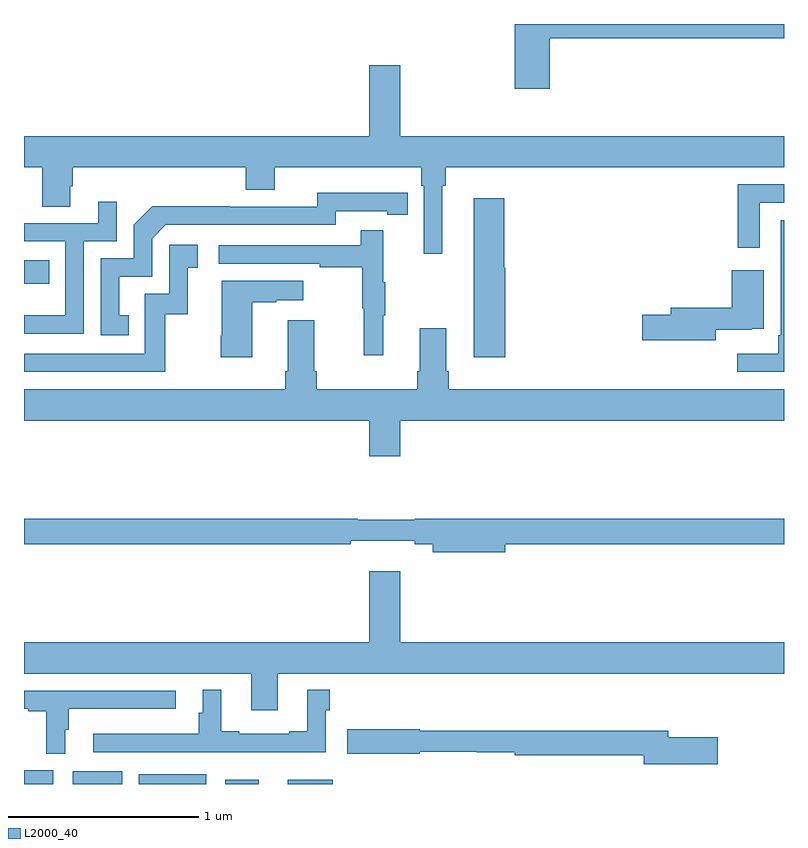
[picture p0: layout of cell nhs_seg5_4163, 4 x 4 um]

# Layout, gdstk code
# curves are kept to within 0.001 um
import gdstk
lib = gdstk.Library(unit=1e-6, precision=1e-09)
def R(c, l, rs):  # rectangles x0, y0, x1, y1
    for r in rs: c.add(gdstk.rectangle(r[:2], r[2:], *l))
def P(c, l, *ps):  # polygons
    for p in ps: c.add(gdstk.Polygon(p, *l))
L2000_40 = (2000, 40)

nhs_seg5_4163 = lib.new_cell('nhs_seg5_4163')
R(nhs_seg5_4163, L2000_40, [(355,902.799,355.153,902.872), (355.256,902.799,355.516,902.866), (355.604,902.799,355.96,902.851), (356.06,902.799,356.236,902.821), (356.387,902.799,356.626,902.821), (355,905.433,355.133,905.556)])
P(nhs_seg5_4163, L2000_40, [(357.767,906.724),(359,906.724),(359,906.799),(357.584,906.799),(357.584,906.459),(357.767,906.459)],
  [(357.202,905.948),(357.221,905.948),(357.221,906.044),(359,906.044),(359,906.208),(356.98,906.208),(356.98,906.583),(356.816,906.583),(356.816,906.208),(355,906.208),(355,906.044),(355.096,906.044),(355.096,905.836),(355.243,905.836),(355.243,905.946),(355.256,905.946),(355.256,906.044),(356.168,906.044),(356.168,905.927),(356.32,905.927),(356.32,906.044),(357.092,906.044),(357.092,905.948),(357.105,905.948),(357.105,905.589),(357.202,905.589)],
  [(358.872,905.859),(359,905.859),(359,905.955),(358.756,905.955),(358.756,905.622),(358.872,905.622)],
  [(355.55,905.265),(355.501,905.265),(355.501,905.469),(355.674,905.469),(355.674,905.67),(355.746,905.742),(356.64,905.742),(356.64,905.814),(356.912,905.814),(356.912,905.794),(357.02,905.794),(357.02,905.91),(356.544,905.911),(356.544,905.838),(356.084,905.838),(356.084,905.84),(355.676,905.84),(355.578,905.742),(355.578,905.565),(355.404,905.565),(355.404,905.16),(355.55,905.16)],
  [(357.532,905.517),(357.527,905.517),(357.527,905.881),(357.368,905.881),(357.368,905.046),(357.532,905.046)],
  [(355.314,905.655),(355.488,905.655),(355.488,905.863),(355.391,905.863),(355.391,905.751),(355,905.751),(355,905.655),(355.218,905.655),(355.218,905.266),(355.004,905.266),(355,905.27),(355,905.169),(355.314,905.169)],
  [(359,905.767),(358.983,905.767),(358.983,905.161),(358.971,905.161),(358.971,905.064),(358.755,905.064),(358.755,904.968),(359,904.968)],
  [(356.891,905.267),(356.902,905.267),(356.902,905.441),(356.891,905.441),(356.891,905.713),(356.773,905.713),(356.773,905.634),(356.025,905.634),(356.025,905.538),(356.557,905.538),(356.557,905.518),(356.781,905.518),(356.781,905.304),(356.788,905.304),(356.788,905.055),(356.891,905.055)],
  [(355.744,905.271),(355.862,905.271),(355.862,905.517),(355.915,905.517),(355.915,905.638),(355.764,905.638),(355.764,905.379),(355.635,905.379),(355.635,905.064),(355,905.064),(355,904.968),(355.744,904.968)],
  [(358.642,905.19),(358.83,905.19),(358.83,905.195),(358.894,905.195),(358.894,905.503),(358.724,905.503),(358.724,905.306),(358.403,905.306),(358.403,905.27),(358.254,905.27),(358.254,905.135),(358.642,905.135)],
  [(356.2,905.335),(356.327,905.335),(356.327,905.345),(356.47,905.345),(356.47,905.449),(356.042,905.449),(356.042,905.158),(356.035,905.158),(356.035,905.046),(356.2,905.046)],
  [(356.98,904.712),(359,904.712),(359,904.876),(357.236,904.876),(357.236,904.972),(357.223,904.972),(357.223,905.197),(357.083,905.197),(357.083,904.972),(357.071,904.972),(357.071,904.876),(356.54,904.876),(356.54,904.972),(356.527,904.972),(356.527,905.239),(356.387,905.239),(356.387,904.972),(356.375,904.972),(356.375,904.876),(355,904.876),(355,904.712),(356.816,904.712),(356.816,904.524),(356.98,904.524)],
  [(357.532,904.06),(359,904.06),(359,904.196),(357.056,904.196),(357.056,904.189),(356.756,904.189),(356.756,904.196),(355,904.196),(355,904.06),(356.72,904.06),(356.72,904.079),(357.056,904.079),(357.056,904.06),(357.152,904.06),(357.152,904.018),(357.532,904.018)],
  [(356.335,903.38),(359,903.38),(359,903.544),(356.98,903.544),(356.98,903.919),(356.816,903.919),(356.816,903.544),(355,903.544),(355,903.38),(356.195,903.38),(356.195,903.186),(356.335,903.186)],
  [(356.589,903.188),(356.609,903.188),(356.609,903.295),(356.492,903.295),(356.492,903.076),(356.396,903.076),(356.396,903.063),(356.134,903.063),(356.134,903.076),(356.038,903.076),(356.038,903.295),(355.94,903.295),(355.94,903.174),(355.921,903.174),(355.921,903.064),(355.365,903.064),(355.365,902.967),(356.064,902.967),(356.064,902.966),(356.589,902.966)],
  [(355.216,903.084),(355.235,903.084),(355.235,903.194),(355.798,903.194),(355.798,903.291),(355,903.291),(355,903.195),(355.022,903.195),(355.022,903.183),(355.118,903.183),(355.118,902.958),(355.216,902.958)],
  [(358.651,903.045),(358.39,903.045),(358.39,903.079),(357.084,903.079),(357.084,903.087),(356.7,903.087),(356.7,902.957),(357.084,902.957),(357.084,902.968),(357.384,902.968),(357.384,902.965),(357.584,902.965),(357.584,902.95),(358.262,902.95),(358.262,902.903),(358.651,902.903)])

lib.write_gds('nhs_seg5_4163.gds')
